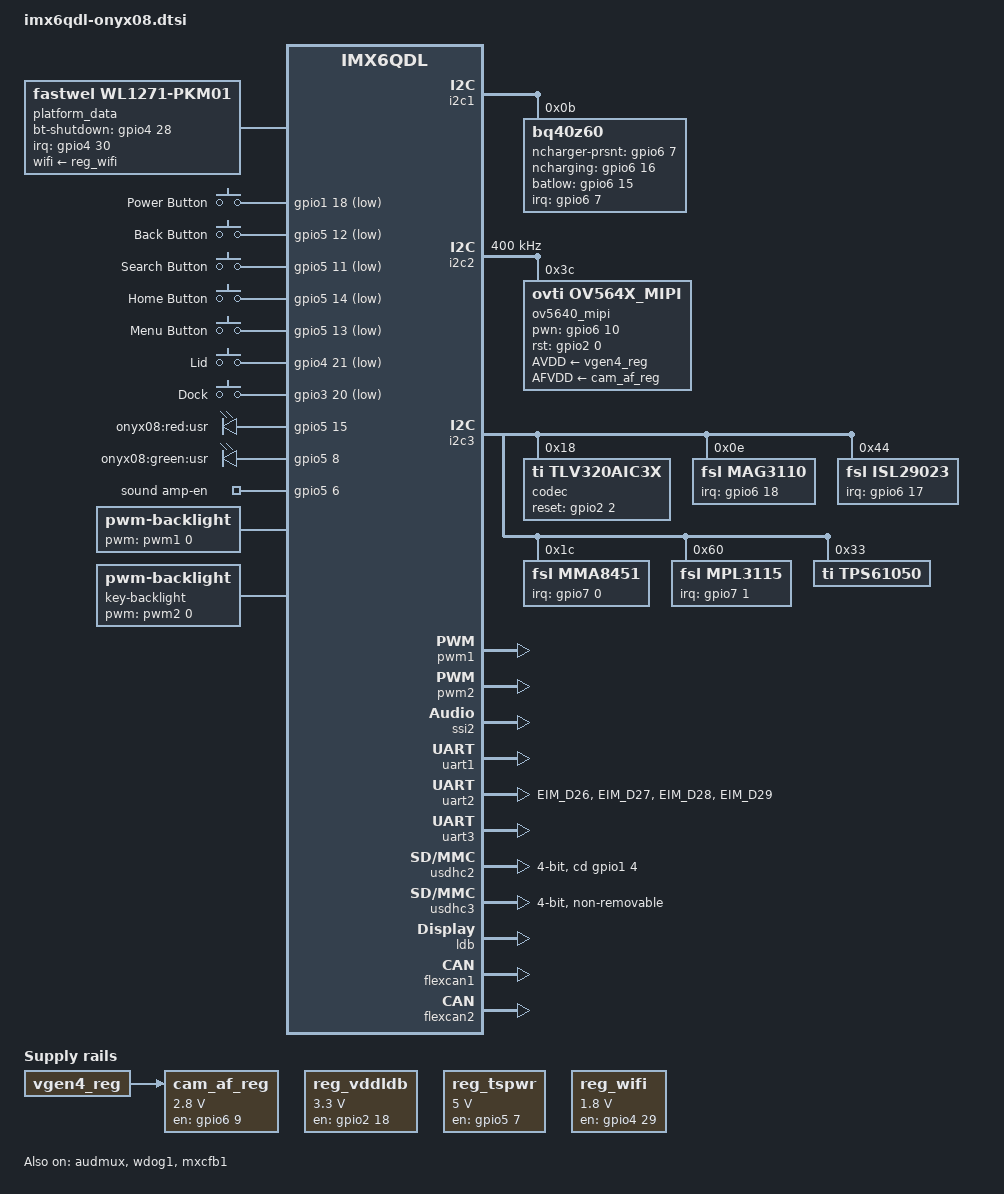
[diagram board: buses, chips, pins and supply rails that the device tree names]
/*
 * Copyright 2012 Freescale Semiconductor, Inc.
 * Copyright 2011 Linaro Ltd.
 *
 * The code contained herein is licensed under the GNU General Public
 * License. You may obtain a copy of the GNU General Public License
 * Version 2 or later at the following locations:
 *
 * http://www.opensource.org/licenses/gpl-license.html
 * http://www.gnu.org/copyleft/gpl.html
 */

#include "imx6qdl-cpc1001.dtsi"
#include <dt-bindings/input/input.h>
#include <dt-bindings/gpio/gpio.h>
#include <dt-bindings/interrupt-controller/irq.h>

/ {

	regulators_onyx08 {
		compatible = "simple-bus";

		reg_vddldb: vddldb {
			compatible = "regulator-fixed";
			regulator-name = "vddldb";
			regulator-min-microvolt = <3300000>;
			regulator-max-microvolt = <3300000>;
			gpio = <&gpio2 18 GPIO_ACTIVE_HIGH>;
			startup-delay-us = <30000>;
			enable-active-high;
		};

		reg_tspwr: tspwr {
			compatible = "regulator-fixed";
			regulator-name = "ts-pwr";
			regulator-min-microvolt = <5000000>;
			regulator-max-microvolt = <5000000>;
			gpio = <&gpio5 7 GPIO_ACTIVE_HIGH>;
			regulator-boot-on;
			startup-delay-us = <30000>;
			enable-active-high;
			status = "okay";
		};

		reg_wifi: wifi {
			compatible = "regulator-fixed";
			regulator-name = "wifi";
			regulator-min-microvolt = <1800000>;
			regulator-max-microvolt = <1800000>;
			gpio = <&gpio4 29 GPIO_ACTIVE_HIGH>;
			enable-active-high;
			startup-delay-us = <700000>;
			regulator-boot-on;
		};

		cam_af_reg: cam_dvdd {
			compatible = "regulator-fixed";
			regulator-name = "cam_afvdd";
			regulator-min-microvolt = <2800000>;
			regulator-max-microvolt = <2800000>;
			gpio = <&gpio6 9 GPIO_ACTIVE_HIGH>;
			enable-active-high;
			vin-supply = <&vgen4_reg>;
		};

	};

	platform_data: wl1271@0 {
		compatible = "fastwel,wl1271-pkm01";
		wifi-supply = <&reg_wifi>;
		bt-shutdown-gpio = <&gpio4 28 GPIO_ACTIVE_HIGH>;
		bt-dev-name = "/dev/ttymxc1";
		bt-flow-cntl = <1>;
		bt-baud = <3000000>;
		interrupt-parent = <&gpio4>;
		interrupts = <30 IRQ_TYPE_LEVEL_HIGH>;
		status = "okay";
	};

	gpio-keys {
		compatible = "gpio-keys";
		status = "okay";
		power {
			label = "Power Button";
			gpios = <&gpio1 18 GPIO_ACTIVE_LOW>;
			linux,code = <KEY_POWER>;
			gpio-key,wakeup;
			debounce-interval = <50>;
		};
		back {
		    label = "Back Button";
		    gpios = <&gpio5 12 GPIO_ACTIVE_LOW>;
		    linux,code = <KEY_BACK>;
		    debounce-interval = <50>;
		};
		search {
		    label = "Search Button";
		    gpios = <&gpio5 11 GPIO_ACTIVE_LOW>;
		    linux,code = <KEY_SEARCH>;
		    debounce-interval = <50>;
		};
		home {
		    label = "Home Button";
		    gpios = <&gpio5 14 GPIO_ACTIVE_LOW>;
		    linux,code = <KEY_HOMEPAGE>;
		    debounce-interval = <50>;
		};
		menu {
		    label = "Menu Button";
		    gpios = <&gpio5 13 GPIO_ACTIVE_LOW>;
		    linux,code = <KEY_MENU>;
		    debounce-interval = <50>;
		};
		lid {
			label = "Lid";
			gpios = <&gpio4 21 GPIO_ACTIVE_LOW>;
			linux,input-type = <5>; /* EV_SW */
			linux,code = <0>; /* SW_LID */
			gpio-key,wakeup;
			debounce-interval = <100>;
		};
		dock {
			label = "Dock";
			gpios = <&gpio3 20 GPIO_ACTIVE_LOW>;
			linux,input-type = <5>; /* EV_SW */
			linux,code = <4>; /* SW_MICROPHONE_INSERT */
			gpio-key,wakeup;
			debounce-interval = <100>;
		};
	};

	leds {
		compatible = "gpio-leds";
		pinctrl-names = "default";
		pinctrl-0 = <&pinctrl_gpio_leds>;

		red {
			label = "onyx08:red:usr";
			gpios = <&gpio5 15 GPIO_ACTIVE_HIGH>;
		};

		green {
			label = "onyx08:green:usr";
			gpios = <&gpio5 8 GPIO_ACTIVE_HIGH>;
		};
	};


    sound {
        compatible = "fsl,imx-audio-tlv320aic3x";
		status = "okay";
                cpu-dai = <&ssi2>;
                mux-int-port = <2>;
                mux-ext-port = <3>;
                audio-codec = <&codec>;
		amp-en-gpios = <&gpio5 6 GPIO_ACTIVE_HIGH>;
                model = "tlv320-audio";
		clocks = <&clks 201>;
		clock-names = "audio-mclk";
		audio-mclk-rate = <24000000>;
		audio-mclk-source = <0>;

		/*
                audio-routing =
                        "Headphone Jack", "HPOUTL",
                        "Headphone Jack", "HPOUTR",
                        "Ext Spk", "SPKOUTL",
                        "Ext Spk", "SPKOUTR",
                        "MICBIAS", "AMIC",
                        "IN3R", "MICBIAS",
                        "DMIC", "MICBIAS",
                        "DMICDAT", "DMIC";

                hp-det-gpios = <&gpio7 8 GPIO_ACTIVE_LOW>;
                mic-det-gpios = <&gpio1 9 GPIO_ACTIVE_LOW>;
        };
		*/
	};

	backlight {
		compatible = "pwm-backlight";
		pwms = <&pwm1 0 5000000>;
		brightness-levels = <
			0 1 2 3 4 5 6 7 8 9 10 11 12 13 14 15
			16 17 18 19 20 21 22 23 24 25 26 27 28 29 30 31
			32 33 34 35 36 37 38 39 40 41 42 43 44 45 46 47
			48 49 50 51 52 53 54 55 56 57 58 59 60 61 62 63
			64 65 66 67 68 69 70 71 72 73 74 75 76 77 78 79
			80 81 82 83 84 85 86 87 88 89 90 91 92 93 94 95
			96 97 98 99 100 101 102 103 104 105 106 107 108 109 110 111
			112 113 114 115 116 117 118 119 120 121 122 123 124 125 126 127
			128 129 130 131 132 133 134 135 136 137 138 139 140 141 142 143
			144 145 146 147 148 149 150 151 152 153 154 155 156 157 158 159
			160 161 162 163 164 165 166 167 168 169 170 171 172 173 174 175
			176 177 178 179 180 181 182 183 184 185 186 187 188 189 190 191
			192 193 194 195 196 197 198 199 200 201 202 203 204 205 206 207
			208 209 210 211 212 213 214 215 216 217 218 219 220 221 222 223
			224 225 226 227 228 229 230 231 232 233 234 235 236 237 238 239
			240 241 242 243 244 245 246 247 248 249 250 251 252 253 254 255>;
		default-brightness-level = <127>;
		power-on-delay-ms = <180>;
	};

	key-backlight {
		compatible = "pwm-backlight";
		pwms = <&pwm2 0 5000000>;
		brightness-levels = <0 2 4 8 16 32 48 64 96 128 192 255>;
		default-brightness-level = <1>;
	};

	ramoops_device {
		compatible = "fsl,mxc_ramoops";
		record_size = <524288>; /*512K*/
		console_size= <262144>; /*256K*/
		ftrace_size= <262144>;  /*256K*/
		dump_oops = <1>;
		status = "okay";
	};
};

/* Audio */

&audmux {
	pinctrl-names = "default";
	pinctrl-0 = <&pinctrl_audmux_2>;
	status = "okay";
};

/* Watchdog */

&wdog1 {
	status = "okay";
};


/* I2C bus */

&i2c1 {
	status = "okay";

	bq40z60: bq40z60@b {
		pinctrl-names = "default";
		pinctrl-0 = <&pinctrl_bq40z60>;
		compatible = "bq40z60";
		status = "okay";
		reg = <0xb>;
		gpio-ncharger-prsnt = <&gpio6 7 GPIO_ACTIVE_HIGH>;
		gpio-ncharging = <&gpio6 16 GPIO_ACTIVE_HIGH>;
		gpio-batlow = <&gpio6 15 GPIO_ACTIVE_HIGH>;
		interrupt-parent = <&gpio6>;
		interrupts = <7 IRQ_TYPE_EDGE_RISING>, <15 IRQ_TYPE_EDGE_RISING>;
	};

};

&i2c2 {
	status = "okay";
	clock-frequency = <400000>;

	ov5640_mipi: ov5640_mipi@3c {
		compatible = "ovti,ov564x_mipi";
		reg = <0x3c>;
		clocks = <&clks 201>;
		clock-names = "csi_mclk";
		/* DOVDD-supply = <&sw4_reg>; */
		AVDD-supply = <&vgen4_reg>;
		AFVDD-supply = <&cam_af_reg>;
		pwn-gpios = <&gpio6 10 GPIO_ACTIVE_HIGH>;
		rst-gpios = <&gpio2 0 GPIO_ACTIVE_HIGH>;
		csi_id = <1>;
		mclk = <24000000>;
		mclk_source = <0>;
	};
};

&i2c3 {
    status = "okay";

	codec: tlv320aic3x@18 {
		compatible = "ti,tlv320aic3x";
		status = "okay";
		reg = <0x18>;
		gpio-reset = <&gpio2 2 GPIO_ACTIVE_HIGH>;
		ai3x-micbias-vg = <2>;
		/*
		IOVDD-supply = <&pu_dummy>;
		DVDD-supply = <&pu_dummy>;
		AVDD-supply = <&pu_dummy>;
		DRVDD-supply = <&pu_dummy>;
		*/
	};

	mag3110@0e {
		compatible = "fsl,mag3110";
		reg = <0x0e>;
		position = <1>;
		interrupt-parent = <&gpio6>;
		interrupts = <18 IRQ_TYPE_EDGE_RISING>;
	};

	isl29023@44 {
		compatible = "fsl,isl29023";
		reg = <0x44>;
		rext = <499>;
		interrupt-parent = <&gpio6>;
		interrupts = <17 IRQ_TYPE_EDGE_FALLING>;
	};

	mma8451@1c {
		compatible = "fsl,mma8451";
		reg = <0x1c>;
		position = <1>;
		interrupt-route = <1>;
		interrupt-parent = <&gpio7>;
		interrupts = <0 IRQ_TYPE_LEVEL_LOW>;
	};

	mpl3115@60 {
		compatible = "fsl,mpl3115";
		reg = <0x60>;
		interrupt-parent = <&gpio7>;
		interrupts = <1 IRQ_TYPE_EDGE_FALLING>;
	};

	tps61050@33 {
		compatible = "ti,tps61050";
		reg = <0x33>;
		operating-mode = <2>;
	};
};

/* PWM */

&pwm1 {
	status = "okay";
};

&pwm2 {
	status = "okay";
};

&ssi2 {
	fsl,mode = "i2s-slave";
	status = "okay";
};

/* UART */

&uart1 {
	status = "okay";
	dma-names = "", "tx";
};

&iomuxc {
	uart2 {
		pinctrl_uart2_1_dte_rtscts: uart2grp-3 { /* DTE mode */
			fsl,pins = <
				MX6QDL_PAD_EIM_D26__UART2_TX_DATA   0x1b0b1
				MX6QDL_PAD_EIM_D27__UART2_RX_DATA   0x1b0b1
				MX6QDL_PAD_EIM_D28__UART2_CTS_B	    0x1b0b1
				MX6QDL_PAD_EIM_D29__UART2_RTS_B     0x1b0b1
			>;
		};
	};

	leds {
		pinctrl_gpio_leds: gpio_leds {
			fsl,pins = <
				MX6QDL_PAD_DISP0_DAT21__GPIO5_IO15  0x1b0b1
				MX6QDL_PAD_DISP0_DAT14__GPIO5_IO08  0x1b0b1
			>;
		};
	};

	audmux {
		pinctrl_audmux_2: audmux-2 {
			fsl,pins = <
				MX6QDL_PAD_CSI0_DAT7__AUD3_RXD  0x130b0
				MX6QDL_PAD_CSI0_DAT4__AUD3_TXC  0x130b0
				MX6QDL_PAD_CSI0_DAT5__AUD3_TXD  0x110b0
				MX6QDL_PAD_CSI0_DAT6__AUD3_TXFS 0x130b0
			>;
		};
	};

	battery {
		pinctrl_bq40z60: bq40z60-pins {
			fsl,pins = <
				MX6QDL_PAD_NANDF_CLE__GPIO6_IO07 0x1f0b0
				MX6QDL_PAD_NANDF_CS2__GPIO6_IO15 0x1f0b0
				MX6QDL_PAD_NANDF_CS3__GPIO6_IO16 0x110b0
			>;
			/* MX6QDL_PAD_NANDF_CS2__GPIO6_IO15 - nBATLOW Pull-Up 22k */
		};
	};

};

&uart2 {
	pinctrl-names = "default";
	pinctrl-0 = <&pinctrl_uart2_1_dte_rtscts>;
	fsl,uart-has-rtscts;
	status = "okay";
};

&uart3 {
	status = "okay";
};

/* SD/MMC */

&usdhc2 {
	cd-gpios = <&gpio1 4 GPIO_ACTIVE_HIGH>;
	keep-power-in-suspend;
	bus-width = <4>;
	disable-wp;
	no-1-8-v;
	status = "okay";
};

/* Ti-Wi */
&usdhc3 {
	pinctrl-names = "default";
	pinctrl-0 = <&pinctrl_usdhc3_2>;
	bus-width = <4>;
	non-removable;
	keep-power-in-suspend;
	enable-sdio-wakeup;
	status = "okay";
};

/* SPI */

/* CPU */

/* USB */

/* PCIe */

/* HDMI */

/* SATA */

/* LDB */

&ldb {
	status = "okay";
	lvds-channel@0 {
		reg = <0>;
		crtc = "ipu2-di0";
		vddldb-supply = <&reg_vddldb>;
		fsl,data-mapping = "spwg";
		fsl,data-width = <24>;
		primary;
		status = "okay";

		display-timings {
			native-mode = <&timing0>;
			timing0: G084SN05V9 {
				clock-frequency = <39800000>;
				hactive = <800>;
				vactive = <600>;
				hback-porch = <128>;
				hfront-porch = <128>;
				vback-porch = <14>;
				vfront-porch = <14>;
				hsync-len = <1>;
				vsync-len = <1>;
			};
		};
	};

	lvds-channel@1 {
		crtc = "ipu2-di1";
		status = "disabled";
	};
};

&mxcfb1 {
	compatible = "fsl,mxc_sdc_fb";
	disp_dev = "ldb";
	interface_pix_fmt = "RGB24";
	mode_str ="800x600M@60";
	default_bpp = <32>;
	int_clk = <0>;
	late_init = <1>;
	status = "okay";
};

&mxcfb2 {
	status = "disabled";
};

&mxcfb3 {
	status = "disabled";
};

&mxcfb4 {
	status = "disabled";
};

&iomuxc {
	pinctrl-names = "default";
	pinctrl-0 = <&pinctrl_hog_1>;

	hog {
		pinctrl_hog_1: hoggrp-1 {
			fsl,pins = <
				MX6QDL_PAD_GPIO_4__SD2_CD_B        0x80000000
				MX6QDL_PAD_GPIO_19__CCM_CLKO1      0x130b0
				MX6QDL_PAD_DISP0_DAT0__GPIO4_IO21  0x1F0B0
				MX6QDL_PAD_EIM_D20__GPIO3_IO20     0x1F0B0
				MX6QDL_PAD_DISP0_DAT2__GPIO4_IO23  0x8b0
				MX6QDL_PAD_DISP0_DAT3__GPIO4_IO24  0x8b0
				MX6QDL_PAD_EIM_D30__USB_H1_OC	   0x1b0b0
				MX6QDL_PAD_EIM_D31__USB_H1_PWR	   0x1b0b0
				MX6QDL_PAD_EIM_D21__USB_OTG_OC	   0x1b0b0
				MX6QDL_PAD_EIM_D22__USB_OTG_PWR	   0x1b0b0

				MX6QDL_PAD_SD3_DAT5__GPIO7_IO00    0x1b0b0	/* ACC_INT */
				MX6QDL_PAD_SD3_DAT4__GPIO7_IO01    0x1b0b0	/* BARO_INT */
				MX6QDL_PAD_SD3_DAT6__GPIO6_IO18    0x1b0b0	/* COMP_INT */
				MX6QDL_PAD_SD3_DAT7__GPIO6_IO17    0x1b0b0	/* ALS_INT */

				MX6QDL_PAD_DISP0_DAT9__GPIO4_IO30  0x1b0b0	/* WL_IRQ */
				MX6QDL_PAD_EIM_A20__GPIO2_IO18     0x1b0b0	/* LCD_VDD_EN */
			>;
		};
		/* MX6QDL_PAD_DISP0_DAT00__GPIO4_IO21 0x1F0B0 - GSM_CCIN Pull-Up 22k */
		/* MX6QDL_PAD_EIM_D20__GPIO3_IO20 0x1F0B0 - nCRDL_PRSNT Pull-Up 22k */
		/* MX6QDL_PAD_DISP0_DAT2__GPIO4_IO23 - GSM_IGT open-drain, no pull-up */
		/* MX6QDL_PAD_DISP0_DAT3__GPIO4_IO24 - GSM_EMERG_OFF open-drain, no pull-up */
		/* USB H1/OTG OC and PWR - use GPIO function */
	};
};

/* CAN */

&flexcan1 {
	status = "okay";
};

&flexcan2 {
	status = "okay";
};

